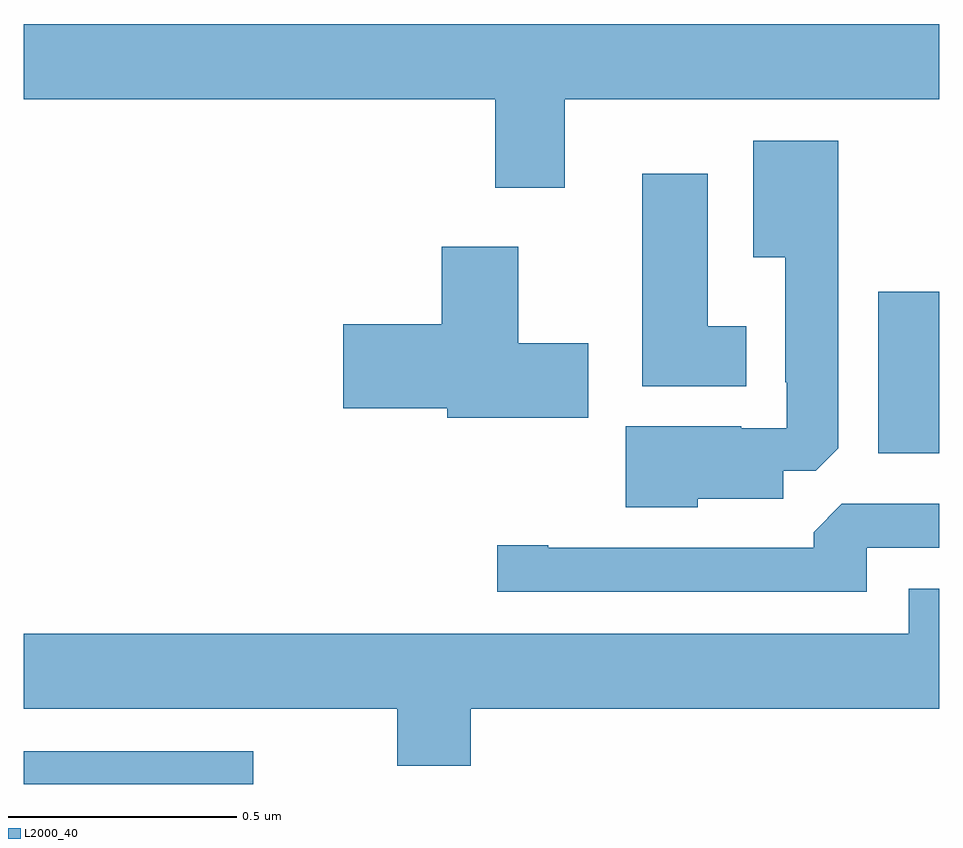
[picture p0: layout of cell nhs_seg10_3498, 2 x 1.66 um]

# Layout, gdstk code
import gdstk
lib = gdstk.Library(unit=1e-6, precision=1e-09)
def R(c, l, rs):  # rectangles x0, y0, x1, y1
    for r in rs: c.add(gdstk.rectangle(r[:2], r[2:], *l))
def P(c, l, *ps):  # polygons
    for p in ps: c.add(gdstk.Polygon(p, *l))
L2000_40 = (2000, 40)

nhs_seg10_3498 = lib.new_cell('nhs_seg10_3498')
R(nhs_seg10_3498, L2000_40, [(154,1285.5,154.501,1285.572), (155.867,1286.222,156,1286.575)])
P(nhs_seg10_3498, L2000_40, [(155.182,1286.996),(156,1286.996),(156,1287.16),(154,1287.16),(154,1286.996),(155.03,1286.996),(155.03,1286.802),(155.182,1286.802)],
  [(155.472,1286.123),(155.659,1286.123),(155.659,1286.184),(155.73,1286.184),(155.779,1286.233),(155.779,1286.905),(155.594,1286.905),(155.594,1286.651),(155.663,1286.651),(155.663,1286.377),(155.667,1286.377),(155.667,1286.277),(155.567,1286.277),(155.567,1286.281),(155.315,1286.281),(155.315,1286.105),(155.472,1286.105)],
  [(155.578,1286.5),(155.494,1286.5),(155.494,1286.833),(155.351,1286.833),(155.351,1286.369),(155.578,1286.369)],
  [(155.233,1286.463),(155.08,1286.463),(155.08,1286.674),(154.913,1286.674),(154.913,1286.504),(154.698,1286.504),(154.698,1286.321),(154.925,1286.321),(154.925,1286.3),(155.233,1286.3)],
  [(155.841,1286.016),(156,1286.016),(156,1286.112),(155.787,1286.112),(155.726,1286.05),(155.726,1286.016),(155.146,1286.016),(155.146,1286.021),(155.034,1286.021),(155.034,1285.92),(155.841,1285.92)],
  [(154.976,1285.664),(156,1285.664),(156,1285.927),(155.933,1285.927),(155.933,1285.828),(154,1285.828),(154,1285.664),(154.816,1285.664),(154.816,1285.54),(154.976,1285.54)])

lib.write_gds('nhs_seg10_3498.gds')
